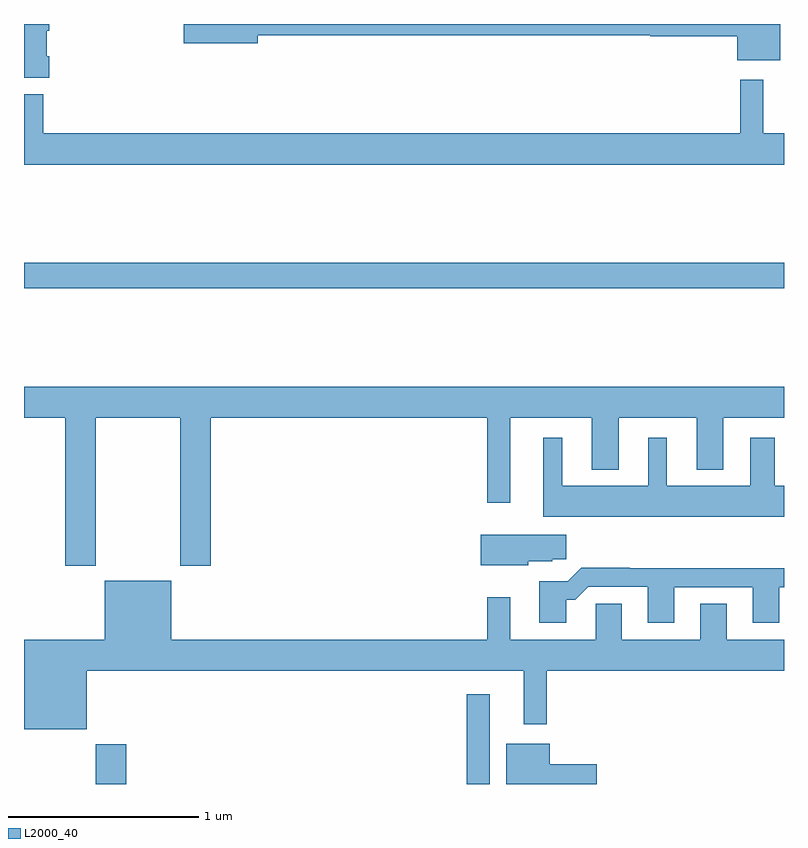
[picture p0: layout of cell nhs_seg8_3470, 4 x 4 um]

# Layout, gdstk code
import gdstk
lib = gdstk.Library(unit=1e-6, precision=1e-09)
def R(c, l, rs):  # rectangles x0, y0, x1, y1
    for r in rs: c.add(gdstk.rectangle(r[:2], r[2:], *l))
def P(c, l, *ps):  # polygons
    for p in ps: c.add(gdstk.Polygon(p, *l))
L2000_40 = (2000, 40)

nhs_seg8_3470 = lib.new_cell('nhs_seg8_3470')
R(nhs_seg8_3470, L2000_40, [(325.378,1119.9,325.538,1120.108), (327.33,1119.9,327.451,1120.372), (325,1122.508,329,1122.644)])
P(nhs_seg8_3470, L2000_40, [(328.981,1123.9),(325.842,1123.9),(325.842,1123.798),(326.23,1123.798),(326.23,1123.84),(328.296,1123.84),(328.296,1123.835),(328.754,1123.835),(328.754,1123.709),(328.981,1123.709)],
  [(325.133,1123.729),(325.12,1123.729),(325.12,1123.865),(325.133,1123.865),(325.133,1123.9),(325,1123.9),(325,1123.617),(325.133,1123.617)],
  [(329,1123.324),(328.891,1123.324),(328.891,1123.606),(328.77,1123.606),(328.77,1123.324),(325.1,1123.324),(325.1,1123.531),(325,1123.531),(325,1123.16),(329,1123.16)],
  [(325.377,1121.828),(325.822,1121.828),(325.822,1121.049),(325.982,1121.049),(325.982,1121.828),(327.438,1121.828),(327.438,1121.379),(327.559,1121.379),(327.559,1121.828),(327.989,1121.828),(327.989,1121.555),(328.129,1121.555),(328.129,1121.828),(328.541,1121.828),(328.541,1121.555),(328.681,1121.555),(328.681,1121.828),(329,1121.828),(329,1121.992),(325,1121.992),(325,1121.828),(325.217,1121.828),(325.217,1121.049),(325.377,1121.049)],
  [(329,1121.47),(328.951,1121.47),(328.951,1121.722),(328.823,1121.722),(328.823,1121.47),(328.384,1121.47),(328.384,1121.722),(328.286,1121.722),(328.286,1121.47),(327.832,1121.47),(327.832,1121.722),(327.734,1121.722),(327.734,1121.306),(329,1121.306)],
  [(327.654,1121.072),(327.78,1121.072),(327.78,1121.083),(327.853,1121.083),(327.853,1121.212),(327.404,1121.212),(327.404,1121.051),(327.654,1121.051)],
  [(327.853,1120.871),(327.902,1120.871),(327.969,1120.938),(328.283,1120.938),(328.283,1120.749),(328.423,1120.749),(328.423,1120.935),(328.835,1120.935),(328.835,1120.749),(328.975,1120.749),(328.975,1120.935),(329,1120.935),(329,1121.036),(328.187,1121.036),(328.187,1121.039),(327.932,1121.039),(327.861,1120.968),(327.713,1120.968),(327.713,1120.749),(327.853,1120.749)],
  [(325.33,1120.496),(327.629,1120.496),(327.629,1120.215),(327.751,1120.215),(327.751,1120.496),(329,1120.496),(329,1120.66),(328.699,1120.66),(328.699,1120.85),(328.559,1120.85),(328.559,1120.66),(328.147,1120.66),(328.147,1120.85),(328.008,1120.85),(328.008,1120.66),(327.559,1120.66),(327.559,1120.882),(327.438,1120.882),(327.438,1120.66),(325.774,1120.66),(325.774,1120.969),(325.424,1120.969),(325.424,1120.66),(325,1120.66),(325,1120.187),(325.33,1120.187)],
  [(328.015,1120.005),(327.766,1120.005),(327.766,1120.111),(327.539,1120.111),(327.539,1119.9),(328.015,1119.9)])

lib.write_gds('nhs_seg8_3470.gds')
